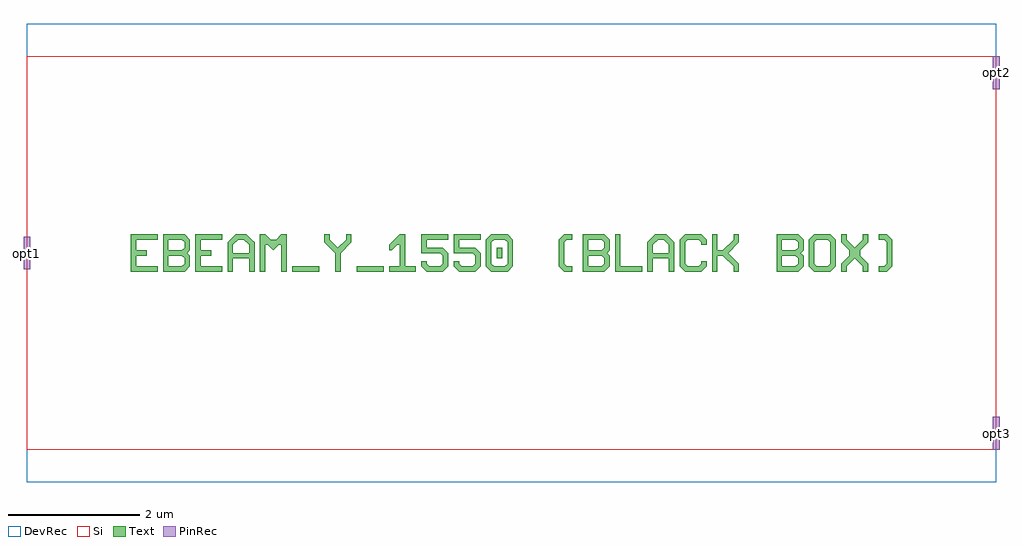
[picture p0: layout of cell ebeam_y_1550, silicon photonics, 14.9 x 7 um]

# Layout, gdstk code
import gdstk
lib = gdstk.Library(unit=1e-6, precision=1e-09)
def R(c, l, rs):  # rectangles x0, y0, x1, y1
    for r in rs: c.add(gdstk.rectangle(r[:2], r[2:], *l))
def P(c, l, *ps):  # polygons
    for p in ps: c.add(gdstk.Polygon(p, *l))
Si = (1, 0)
PinRec = (1, 10)
Text = (10, 0)
DevRec = (68, 0)

text = lib.new_cell('TEXT')
R(text, Text, [(2.465,0,2.876,0.082), (3.451,0,3.862,0.082), (5.587,0.206,5.67,0.37)])
P(text, Text, [(0,0),(0,0.576),(0.411,0.576),(0.411,0.493),(0.082,0.493),(0.082,0.329),(0.247,0.329),(0.247,0.247),(0.082,0.247),(0.082,0.082),(0.411,0.082),(0.411,0)],
  [(0.493,0),(0.493,0.576),(0.822,0.576),(0.904,0.493),(0.575,0.493),(0.575,0.329),(0.781,0.329),(0.822,0.37),(0.822,0.452),(0.781,0.493),(0.904,0.493),(0.904,0.329),(0.863,0.288),(0.904,0.247),(0.575,0.247),(0.575,0.082),(0.781,0.082),(0.822,0.123),(0.822,0.206),(0.781,0.247),(0.904,0.247),(0.904,0.082),(0.822,0)],
  [(0.986,0),(0.986,0.576),(1.397,0.576),(1.397,0.493),(1.068,0.493),(1.068,0.329),(1.233,0.329),(1.233,0.247),(1.068,0.247),(1.068,0.082),(1.397,0.082),(1.397,0)],
  [(1.479,0),(1.479,0.452),(1.602,0.576),(1.767,0.576),(1.849,0.493),(1.643,0.493),(1.561,0.411),(1.561,0.288),(1.808,0.288),(1.808,0.411),(1.726,0.493),(1.849,0.493),(1.89,0.452),(1.89,0),(1.808,0),(1.808,0.206),(1.561,0.206),(1.561,0)],
  [(1.972,0),(1.972,0.576),(2.054,0.576),(2.136,0.493),(2.219,0.493),(2.301,0.576),(2.383,0.576),(2.383,0),(2.301,0),(2.301,0.411),(2.26,0.411),(2.178,0.329),(2.095,0.411),(2.054,0.411),(2.054,0)],
  [(3.122,0),(3.122,0.288),(2.958,0.452),(2.958,0.576),(3.04,0.576),(3.04,0.493),(3.164,0.37),(3.287,0.493),(3.287,0.576),(3.369,0.576),(3.369,0.452),(3.205,0.288),(3.205,0)],
  [(3.944,0),(3.944,0.082),(4.108,0.082),(4.108,0.411),(4.067,0.411),(3.985,0.329),(3.944,0.329),(3.944,0.411),(4.108,0.576),(4.191,0.576),(4.191,0.082),(4.355,0.082),(4.355,0)],
  [(4.519,0),(4.437,0.082),(4.437,0.164),(4.519,0.164),(4.519,0.123),(4.56,0.082),(4.725,0.082),(4.766,0.123),(4.766,0.247),(4.725,0.288),(4.437,0.288),(4.437,0.576),(4.848,0.576),(4.848,0.493),(4.519,0.493),(4.519,0.37),(4.766,0.37),(4.848,0.288),(4.848,0.082),(4.766,0)],
  [(5.012,0),(4.93,0.082),(4.93,0.164),(5.012,0.164),(5.012,0.123),(5.053,0.082),(5.218,0.082),(5.259,0.123),(5.259,0.247),(5.218,0.288),(4.93,0.288),(4.93,0.576),(5.341,0.576),(5.341,0.493),(5.012,0.493),(5.012,0.37),(5.259,0.37),(5.341,0.288),(5.341,0.082),(5.259,0)],
  [(5.505,0),(5.423,0.082),(5.423,0.493),(5.505,0.576),(5.752,0.576),(5.834,0.493),(5.546,0.493),(5.505,0.452),(5.505,0.123),(5.546,0.082),(5.711,0.082),(5.752,0.123),(5.752,0.452),(5.711,0.493),(5.834,0.493),(5.834,0.082),(5.752,0)],
  [(6.615,0),(6.532,0.082),(6.532,0.493),(6.615,0.576),(6.738,0.576),(6.738,0.493),(6.656,0.493),(6.615,0.452),(6.615,0.123),(6.656,0.082),(6.738,0.082),(6.738,0)],
  [(6.902,0),(6.902,0.576),(7.231,0.576),(7.313,0.493),(6.984,0.493),(6.984,0.329),(7.19,0.329),(7.231,0.37),(7.231,0.452),(7.19,0.493),(7.313,0.493),(7.313,0.329),(7.272,0.288),(7.313,0.247),(6.984,0.247),(6.984,0.082),(7.19,0.082),(7.231,0.123),(7.231,0.206),(7.19,0.247),(7.313,0.247),(7.313,0.082),(7.231,0)],
  [(7.395,0),(7.395,0.576),(7.477,0.576),(7.477,0.082),(7.806,0.082),(7.806,0)],
  [(7.888,0),(7.888,0.452),(8.011,0.576),(8.176,0.576),(8.258,0.493),(8.052,0.493),(7.97,0.411),(7.97,0.288),(8.217,0.288),(8.217,0.411),(8.135,0.493),(8.258,0.493),(8.299,0.452),(8.299,0),(8.217,0),(8.217,0.206),(7.97,0.206),(7.97,0)],
  [(8.463,0),(8.381,0.082),(8.381,0.493),(8.463,0.576),(8.71,0.576),(8.792,0.493),(8.792,0.411),(8.71,0.411),(8.71,0.452),(8.669,0.493),(8.504,0.493),(8.463,0.452),(8.463,0.123),(8.504,0.082),(8.669,0.082),(8.71,0.123),(8.71,0.164),(8.792,0.164),(8.792,0.082),(8.71,0)],
  [(8.874,0),(8.874,0.576),(8.956,0.576),(8.956,0.329),(9.038,0.329),(9.203,0.493),(9.203,0.576),(9.285,0.576),(9.285,0.452),(9.121,0.288),(9.285,0.123),(9.285,0),(9.203,0),(9.203,0.082),(9.038,0.247),(8.956,0.247),(8.956,0)],
  [(9.86,0),(9.86,0.576),(10.189,0.576),(10.271,0.493),(9.942,0.493),(9.942,0.329),(10.148,0.329),(10.189,0.37),(10.189,0.452),(10.148,0.493),(10.271,0.493),(10.271,0.329),(10.23,0.288),(10.271,0.247),(9.942,0.247),(9.942,0.082),(10.148,0.082),(10.189,0.123),(10.189,0.206),(10.148,0.247),(10.271,0.247),(10.271,0.082),(10.189,0)],
  [(10.435,0),(10.353,0.082),(10.353,0.493),(10.435,0.576),(10.682,0.576),(10.764,0.493),(10.764,0.288),(10.682,0.288),(10.682,0.452),(10.641,0.493),(10.476,0.493),(10.435,0.452),(10.435,0.123),(10.476,0.082),(10.641,0.082),(10.682,0.123),(10.682,0.288),(10.764,0.288),(10.764,0.082),(10.682,0)],
  [(10.846,0),(10.846,0.123),(10.969,0.247),(10.969,0.329),(10.846,0.452),(10.846,0.576),(10.928,0.576),(10.928,0.493),(11.052,0.37),(11.175,0.493),(11.175,0.576),(11.257,0.576),(11.257,0.452),(11.134,0.329),(11.134,0.247),(11.257,0.123),(11.257,0),(11.175,0),(11.175,0.082),(11.052,0.206),(10.928,0.082),(10.928,0)],
  [(11.421,0),(11.421,0.082),(11.503,0.082),(11.545,0.123),(11.545,0.452),(11.503,0.493),(11.421,0.493),(11.421,0.576),(11.545,0.576),(11.627,0.493),(11.627,0.082),(11.545,0)])

ebeam_y_1550 = lib.new_cell('ebeam_y_1550')
R(ebeam_y_1550, Si, [(-7.4,-3,7.4,3)])
R(ebeam_y_1550, DevRec, [(-7.4,-3.5,7.4,3.5)])
ebeam_y_1550.add(gdstk.FlexPath([(-7.35,0),(-7.45,0)], 0.5, ends="flush", simple_path=True, layer=1, datatype=10))  # PinRec
ebeam_y_1550.add(gdstk.FlexPath([(7.35,2.75),(7.45,2.75)], 0.5, ends="flush", simple_path=True, layer=1, datatype=10))  # PinRec
ebeam_y_1550.add(gdstk.FlexPath([(7.35,-2.75),(7.45,-2.75)], 0.5, ends="flush", simple_path=True, layer=1, datatype=10))  # PinRec
ebeam_y_1550.add(gdstk.Reference(text, (-5.813,-0.288)))
ebeam_y_1550.add(gdstk.Label('opt2', (7.4,2.75), layer=1, texttype=10))
ebeam_y_1550.add(gdstk.Label('opt3', (7.4,-2.75), layer=1, texttype=10))
ebeam_y_1550.add(gdstk.Label('opt1', (-7.4,0), layer=1, texttype=10))

lib.write_gds('ebeam_y_1550.gds')
